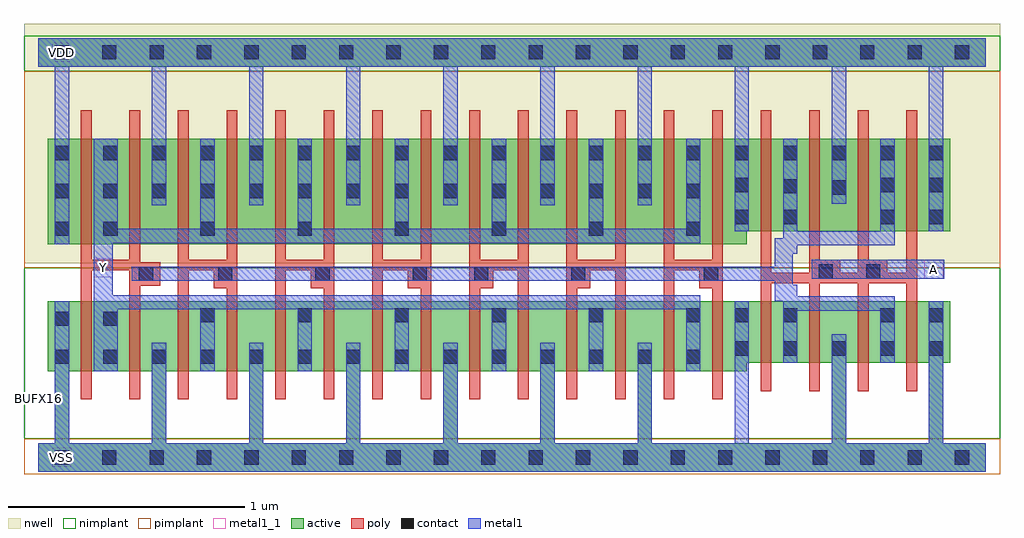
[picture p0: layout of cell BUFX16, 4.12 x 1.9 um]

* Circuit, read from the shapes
.subckt BUFX16 A VDD VSS Y
M1 Y n1 VSS VSS nfet w=0.295u l=0.045u m=14
M2 n1 A VSS VSS nfet w=0.26u l=0.045u m=4
M3 Y n1 VDD VDD pfet w=0.445u l=0.045u m=14
M4 n1 A VDD VDD pfet w=0.39u l=0.045u m=4
.ends

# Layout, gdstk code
import gdstk
lib = gdstk.Library(unit=1e-6, precision=5e-10)
def R(c, l, rs):  # rectangles x0, y0, x1, y1
    for r in rs: c.add(gdstk.rectangle(r[:2], r[2:], *l))
def A(c, l, x, y, w, h, nx, ny, dx, dy):  # array of equal rectangles
    R(c, l, [(x+i*dx, y+j*dy, x+i*dx+w, y+j*dy+h) for i in range(nx) for j in range(ny)])
def P(c, l, *ps):  # polygons
    for p in ps: c.add(gdstk.Polygon(p, *l))
active = (1, 0)
nwell = (2, 0)
poly = (3, 0)
nimplant = (4, 0)
pimplant = (5, 0)
contact = (6, 0)
metal1 = (7, 0)
metal1_1 = (7, 1)

bufx16 = lib.new_cell('BUFX16')
R(bufx16, active, [(0,1.65,4,1.77)])
P(bufx16, active, [(4,0.06),(3.82,0.06),(3.82,0.4),(3.85,0.4),(3.85,0.66),(3.76,0.66),(3.76,0.06),(3.41,0.06),(3.41,0.4),(3.76,0.4),(3.76,0.66),(3.35,0.66),(3.35,0.06),(2.59,0.06),(2.59,0.365),(2.99,0.365),(2.99,0.4),(3.35,0.4),(3.35,0.66),(2.53,0.66),(2.53,0.06),(2.18,0.06),(2.18,0.365),(2.53,0.365),(2.53,0.66),(2.12,0.66),(2.12,0.06),(1.77,0.06),(1.77,0.365),(2.12,0.365),(2.12,0.66),(1.71,0.66),(1.71,0.06),(1.36,0.06),(1.36,0.365),(1.71,0.365),(1.71,0.66),(1.3,0.66),(1.3,0.06),(0.95,0.06),(0.95,0.365),(1.3,0.365),(1.3,0.66),(0.89,0.66),(0.89,0.06),(0.54,0.06),(0.54,0.365),(0.89,0.365),(0.89,0.66),(0.48,0.66),(0.48,0.06),(0.13,0.06),(0.13,0.365),(0.48,0.365),(0.48,0.66),(0.04,0.66),(0.04,0.365),(0.07,0.365),(0.07,0.06),(0,0.06),(0,-0.06),(4,-0.06)],
  [(3.85,1.345),(0.04,1.345),(0.04,0.9),(2.99,0.9),(2.99,0.955),(3.85,0.955)])
R(bufx16, nwell, [(-0.06,0.82,4.06,1.83)])
P(bufx16, poly, [(2.89,1.465),(2.845,1.465),(2.845,0.835),(2.685,0.835),(2.685,1.465),(2.64,1.465),(2.64,0.245),(2.685,0.245),(2.685,0.79),(2.79,0.79),(2.79,0.715),(2.845,0.715),(2.845,0.245),(2.89,0.245)],
  [(2.48,1.465),(2.435,1.465),(2.435,0.835),(2.275,0.835),(2.275,1.465),(2.23,1.465),(2.23,0.245),(2.275,0.245),(2.275,0.715),(2.33,0.715),(2.33,0.79),(2.435,0.79),(2.435,0.245),(2.48,0.245)],
  [(2.07,1.465),(2.025,1.465),(2.025,0.835),(1.865,0.835),(1.865,1.465),(1.82,1.465),(1.82,0.245),(1.865,0.245),(1.865,0.715),(1.92,0.715),(1.92,0.79),(2.025,0.79),(2.025,0.245),(2.07,0.245)],
  [(1.66,1.465),(1.615,1.465),(1.615,0.835),(1.455,0.835),(1.455,1.465),(1.41,1.465),(1.41,0.245),(1.455,0.245),(1.455,0.79),(1.56,0.79),(1.56,0.715),(1.615,0.715),(1.615,0.245),(1.66,0.245)],
  [(1.25,1.465),(1.205,1.465),(1.205,0.835),(1.045,0.835),(1.045,1.465),(1,1.465),(1,0.245),(1.045,0.245),(1.045,0.79),(1.15,0.79),(1.15,0.715),(1.205,0.715),(1.205,0.245),(1.25,0.245)],
  [(0.84,1.465),(0.795,1.465),(0.795,0.835),(0.635,0.835),(0.635,1.465),(0.59,1.465),(0.59,0.245),(0.635,0.245),(0.635,0.79),(0.74,0.79),(0.74,0.715),(0.795,0.715),(0.795,0.245),(0.84,0.245)],
  [(0.515,0.825),(0.43,0.825),(0.43,1.465),(0.385,1.465),(0.385,0.835),(0.225,0.835),(0.225,1.465),(0.18,1.465),(0.18,0.245),(0.225,0.245),(0.225,0.79),(0.385,0.79),(0.385,0.245),(0.43,0.245),(0.43,0.725),(0.515,0.725)],
  [(3.71,1.465),(3.665,1.465),(3.665,0.78),(3.585,0.78),(3.585,0.835),(3.505,0.835),(3.505,1.465),(3.46,1.465),(3.46,0.78),(3.385,0.78),(3.385,0.835),(3.3,0.835),(3.3,1.465),(3.255,1.465),(3.255,0.78),(3.095,0.78),(3.095,1.465),(3.05,1.465),(3.05,0.28),(3.095,0.28),(3.095,0.735),(3.255,0.735),(3.255,0.28),(3.3,0.28),(3.3,0.735),(3.46,0.735),(3.46,0.28),(3.505,0.28),(3.505,0.735),(3.665,0.735),(3.665,0.28),(3.71,0.28)])
R(bufx16, nimplant, [(-0.06,0.08,4.06,0.8), (-0.06,1.63,4.06,1.78)])
R(bufx16, pimplant, [(-0.06,-0.07,4.06,0.08), (-0.06,0.8,4.06,1.63)])
A(bufx16, contact, 0.07, -0.03, 0.06, 0.06, 20, 2, 0.2, 1.71)
A(bufx16, contact, 0.07, 0.395, 0.06, 0.06, 14, 2, 0.205, 0.7)
A(bufx16, contact, 2.94, 0.43, 0.06, 0.06, 5, 1, 0.205, 0)
A(bufx16, contact, 0.685, 0.57, 0.06, 0.06, 6, 1, 0.41, 0)
A(bufx16, contact, 0.76, 0.745, 0.06, 0.06, 3, 1, 0.41, 0)
A(bufx16, contact, 0.275, 0.935, 0.06, 0.06, 7, 1, 0.41, 0)
A(bufx16, contact, 0.07, 1.255, 0.06, 0.06, 19, 1, 0.205, 0)
R(bufx16, contact, [(0.07,0.555,0.13,0.615), (0.275,0.555,0.335,0.615), (2.94,0.57,3,0.63), (3.145,0.57,3.205,0.63), (3.555,0.57,3.615,0.63), (3.76,0.57,3.82,0.63), (0.425,0.745,0.485,0.805), (1.84,0.745,1.9,0.805), (2.25,0.745,2.31,0.805), (2.81,0.745,2.87,0.805), (3.295,0.755,3.355,0.815), (3.495,0.755,3.555,0.815), (0.07,0.935,0.13,0.995), (2.94,0.985,3,1.045), (3.145,0.985,3.205,1.045), (3.555,0.985,3.615,1.045), (3.76,0.985,3.82,1.045), (3.35,1.11,3.41,1.17), (3.145,1.115,3.205,1.175), (2.94,1.12,3,1.18), (3.555,1.12,3.615,1.18), (3.76,1.12,3.82,1.18)])
R(bufx16, metal1, [(3.265,0.755,3.825,0.835)])
P(bufx16, metal1, [(3.615,0.68),(3.205,0.68),(3.205,0.73),(3.185,0.73),(3.185,0.86),(3.205,0.86),(3.205,0.895),(3.615,0.895),(3.615,1.345),(3.555,1.345),(3.555,0.955),(3.205,0.955),(3.205,1.345),(3.145,1.345),(3.145,0.925),(3.11,0.925),(3.11,0.805),(0.395,0.805),(0.395,0.745),(3.11,0.745),(3.11,0.66),(3.145,0.66),(3.145,0.4),(3.205,0.4),(3.205,0.62),(3.555,0.62),(3.555,0.4),(3.615,0.4)],
  [(4,1.77),(0,1.77),(0,1.65),(0.07,1.65),(0.07,0.9),(0.13,0.9),(0.13,1.65),(0.48,1.65),(0.48,1.065),(0.54,1.065),(0.54,1.65),(0.89,1.65),(0.89,1.065),(0.95,1.065),(0.95,1.65),(1.3,1.65),(1.3,1.065),(1.36,1.065),(1.36,1.65),(1.71,1.65),(1.71,1.065),(1.77,1.065),(1.77,1.65),(2.12,1.65),(2.12,1.065),(2.18,1.065),(2.18,1.65),(2.53,1.65),(2.53,1.065),(2.59,1.065),(2.59,1.65),(2.94,1.65),(2.94,0.955),(3,0.955),(3,1.65),(3.35,1.65),(3.35,1.07),(3.41,1.07),(3.41,1.65),(3.76,1.65),(3.76,0.955),(3.82,0.955),(3.82,1.65),(4,1.65)],
  [(4,0.06),(3.82,0.06),(3.82,0.66),(3.76,0.66),(3.76,0.06),(3.41,0.06),(3.41,0.52),(3.35,0.52),(3.35,0.06),(3,0.06),(3,0.66),(2.94,0.66),(2.94,0.06),(2.59,0.06),(2.59,0.485),(2.53,0.485),(2.53,0.06),(2.18,0.06),(2.18,0.485),(2.12,0.485),(2.12,0.06),(1.77,0.06),(1.77,0.485),(1.71,0.485),(1.71,0.06),(1.36,0.06),(1.36,0.485),(1.3,0.485),(1.3,0.06),(0.95,0.06),(0.95,0.485),(0.89,0.485),(0.89,0.06),(0.54,0.06),(0.54,0.485),(0.48,0.485),(0.48,0.06),(0.13,0.06),(0.13,0.66),(0.07,0.66),(0.07,0.06),(0,0.06),(0,-0.06),(4,-0.06)],
  [(2.795,0.685),(0.315,0.685),(0.315,0.905),(2.795,0.905),(2.795,1.345),(2.735,1.345),(2.735,0.965),(2.385,0.965),(2.385,1.345),(2.325,1.345),(2.325,0.965),(1.975,0.965),(1.975,1.345),(1.915,1.345),(1.915,0.965),(1.565,0.965),(1.565,1.345),(1.505,1.345),(1.505,0.965),(1.155,0.965),(1.155,1.345),(1.095,1.345),(1.095,0.965),(0.745,0.965),(0.745,1.345),(0.685,1.345),(0.685,0.965),(0.335,0.965),(0.335,1.345),(0.235,1.345),(0.235,0.365),(0.335,0.365),(0.335,0.625),(0.685,0.625),(0.685,0.365),(0.745,0.365),(0.745,0.625),(1.095,0.625),(1.095,0.365),(1.155,0.365),(1.155,0.625),(1.505,0.625),(1.505,0.365),(1.565,0.365),(1.565,0.625),(1.915,0.625),(1.915,0.365),(1.975,0.365),(1.975,0.625),(2.325,0.625),(2.325,0.365),(2.385,0.365),(2.385,0.625),(2.735,0.625),(2.735,0.365),(2.795,0.365)])
R(bufx16, metal1_1, [(0.06,-0.04,0.14,0.04), (3.74,0.755,3.82,0.835), (0.235,0.76,0.315,0.84), (0.06,1.67,0.14,1.75)])
bufx16.add(gdstk.Label('A', (3.78,0.795), layer=7, texttype=1))
bufx16.add(gdstk.Label('Y', (0.275,0.8), layer=7, texttype=1))
bufx16.add(gdstk.Label('VDD', (0.1,1.71), layer=7, texttype=1))
bufx16.add(gdstk.Label('VSS', (0.1,0), layer=7, texttype=1))
bufx16.add(gdstk.Label('BUFX16', (0,0.25), layer=63, texttype=0))

lib.write_gds('BUFX16.gds')
